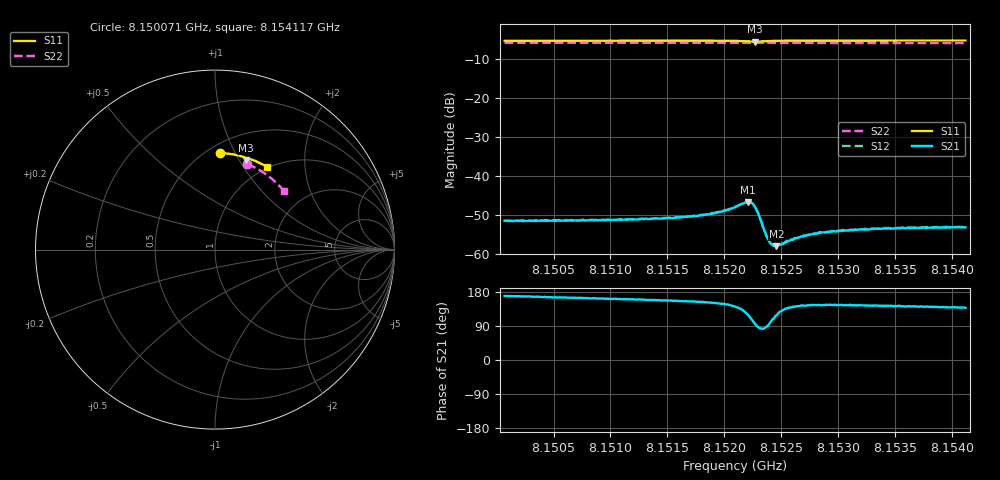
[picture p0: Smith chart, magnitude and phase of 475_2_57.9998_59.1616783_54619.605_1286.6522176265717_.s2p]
#  HZ  S  RI  R  50.00
! Rohde & Schwarz Vector Network Analyzer
! Rohde-Schwarz,ZNB20-2Port,1311601062101988,3.16
! Created: UTC 3/21/2024, 1:11:38 AM
! freq[Hz]  re:S11  im:S11  re:S21  im:S21  re:S12  im:S12  re:S22  im:S22
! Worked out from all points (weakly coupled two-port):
!   401 points, 8.150071 GHz to 8.154117 GHz, reference 50 ohm
!   highest |S21| = -46.72 dB at 8.152205 GHz (marker M1); lowest = -58.0 dB at 8.152458 GHz (marker M2)
!   lowest |S11| = -5.6 dB at 8.152266 GHz (marker M3), VSWR 3.22, Z = 38.8 + j53.3 ohm
!   |S11| at or under -10 dB: nowhere
!   |S22| runs from -6.0 to -5.9 dB; largest |S21 - S12| = 0.00011
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8.1500706e9  0.0284 0.5374  -0.0026 0.000511  -0.0026 0.000592  0.1809 0.4763
8.1507483e9  0.0756 0.5341  -0.00258 0.000733  -0.00262 0.000801  0.2205 0.4584
8.1514261e9  0.1226 0.5262  -0.00263 0.00106  -0.00262 0.00112  0.2582 0.4371
8.151679e9  0.1404 0.5221  -0.00273 0.00131  -0.00269 0.00131  0.2718 0.4283
8.1518307e9  0.1512 0.519  -0.0028 0.00145  -0.00281 0.00154  0.2797 0.4229
8.1519824e9  0.1625 0.5147  -0.00298 0.00185  -0.00299 0.00192  0.2878 0.4172
8.1520937e9  0.1712 0.5099  -0.00308 0.00251  -0.00306 0.00256  0.2934 0.4129
8.152205e9  0.1765 0.4999  -0.00231 0.004  -0.00228 0.00408  0.2987 0.4083
8.1522353e9  0.1749 0.4972  -0.00146 0.00427  -0.00143 0.00432  0.3001 0.4072
8.1522657e9  0.1719 0.4967  -0.000509 0.00406  -0.000467 0.0041  0.3014 0.406
8.152296e9  0.17 0.4989  0.00017 0.00332  0.000211 0.00336  0.303 0.405
8.1523567e9  0.1727 0.5043  0.000164 0.00191  0.000198 0.00191  0.306 0.4028
8.152387e9  0.1753 0.5058  -4.82e-05 0.00153  -4.68e-05 0.0015  0.3075 0.4016
8.1524174e9  0.1783 0.5065  -0.000347 0.00128  -0.000314 0.00129  0.3091 0.4006
8.1524579e9  0.1821 0.5067  -0.000585 0.00111  -0.000582 0.00112  0.3111 0.399
8.1525084e9  0.1867 0.5064  -0.00087 0.00102  -0.000835 0.00103  0.3135 0.3969
8.1525489e9  0.1901 0.5057  -0.00102 0.000977  -0.00107 0.00103  0.3156 0.3953
8.1526298e9  0.1963 0.5043  -0.00125 0.000985  -0.00124 0.001  0.3196 0.392
8.1527714e9  0.2066 0.501  -0.00147 0.00104  -0.00147 0.00109  0.3265 0.386
8.1530243e9  0.2236 0.4943  -0.00163 0.00112  -0.00161 0.00118  0.3381 0.3753
8.1534492e9  0.251 0.482  -0.0017 0.0013  -0.00169 0.0013  0.3571 0.3564
8.1541168e9  0.2918 0.4597  -0.00161 0.00148  -0.00163 0.00151  0.3845 0.3246
